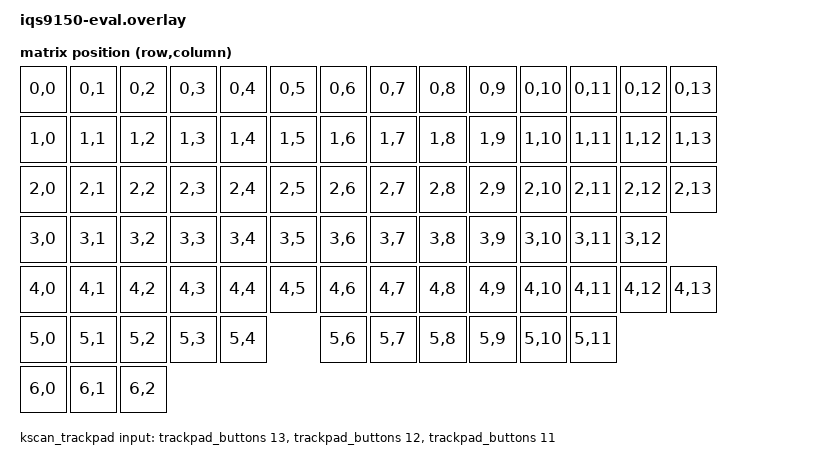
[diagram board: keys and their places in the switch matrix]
/*
  SPDX-License-Identifier: GPL-3.0-or-later
  Copyright 2026 joguSD

  Reform Next overlay: adds trackpad (IQS9150) and button (PCAL6416A) support.
*/

#include <dt-bindings/zmk/matrix_transform.h>
#include <input/processors/scaler.dtsi>
#include <input/processors/inc_dec.dtsi>

&i2c0 {
    trackpad_buttons: pcal6416a@20 {
        compatible = "nxp,pcal6416a";
        reg = <0x20>;
        gpio-controller;
        #gpio-cells = <2>;
        ngpios = <16>;
    };

    trackpad: iqs9150@56 {
        compatible = "azoteq,iqs9150";
        reg = <0x56>;
        rdy-gpios = <&gpio0 29 GPIO_ACTIVE_LOW>;
        tap-enable;
        two-finger-tap-enable;
        scroll-enable;
        scroll-initial-distance = <1>;
        scroll-consecutive-distance = <1>;
        palm-reject-enable;
        tap-time-ms = <80>;
    };
};

/ {
    trackpad_listener {
        compatible = "zmk,input-listener";
        device = <&trackpad>;

        rgb_mode {
            layers = <1>;
            input-processors
                = <&zip_hscroll_scaler 1 25>, <&zip_hscroll_rgb_hue>, <&zip_vscroll_scaler 1 50>, <&zip_vscroll_rgb_sat>
                , <&zip_y_scaler 1 100>, <&zip_y_rgb_brt>, <&zip_x_scaler 0 1>
                ;
        };
    };

    kscan_trackpad: kscan_trackpad {
        compatible = "zmk,kscan-gpio-direct";
        input-gpios
            = <&trackpad_buttons 13 (GPIO_ACTIVE_LOW | GPIO_PULL_UP)>  /* P1_5 - SW1 - Left */
            , <&trackpad_buttons 12 (GPIO_ACTIVE_LOW | GPIO_PULL_UP)>  /* P1_4 - SW2 - Middle */
            , <&trackpad_buttons 11 (GPIO_ACTIVE_LOW | GPIO_PULL_UP)>  /* P1_3 - SW3 - Right */
            ;
    };

    kscan_composite: kscan_composite {
        compatible = "zmk,kscan-composite";
        columns = <14>;
        rows = <7>;

        keyboard {
            kscan = <&kscan0>;
        };

        trackpad {
            kscan = <&kscan_trackpad>;
            row-offset = <6>;
        };
    };

    chosen {
        zmk,kscan = &kscan_composite;
    };
};

&default_transform {
    columns = <14>;
    rows = <7>;
    map = <
        RC(0,0) RC(0,1) RC(0,2) RC(0,3) RC(0,4) RC(0,5) RC(0,6) RC(0,7) RC(0,8) RC(0,9) RC(0,10) RC(0,11) RC(0,12) RC(0,13)
        RC(1,0) RC(1,1) RC(1,2) RC(1,3) RC(1,4) RC(1,5) RC(1,6) RC(1,7) RC(1,8) RC(1,9) RC(1,10) RC(1,11) RC(1,12) RC(1,13)
        RC(2,0) RC(2,1) RC(2,2) RC(2,3) RC(2,4) RC(2,5) RC(2,6) RC(2,7) RC(2,8) RC(2,9) RC(2,10) RC(2,11) RC(2,12) RC(2,13)
        RC(3,0) RC(3,1) RC(3,2) RC(3,3) RC(3,4) RC(3,5) RC(3,6) RC(3,7) RC(3,8) RC(3,9) RC(3,10) RC(3,11) RC(3,12)
        RC(4,0) RC(4,1) RC(4,2) RC(4,3) RC(4,4) RC(4,5) RC(4,6) RC(4,7) RC(4,8) RC(4,9) RC(4,10) RC(4,11) RC(4,12) RC(4,13)
        RC(5,0) RC(5,1) RC(5,2) RC(5,3) RC(5,4)         RC(5,6) RC(5,7) RC(5,8) RC(5,9) RC(5,10) RC(5,11)
        RC(6,0) RC(6,1) RC(6,2)
    >;
};
